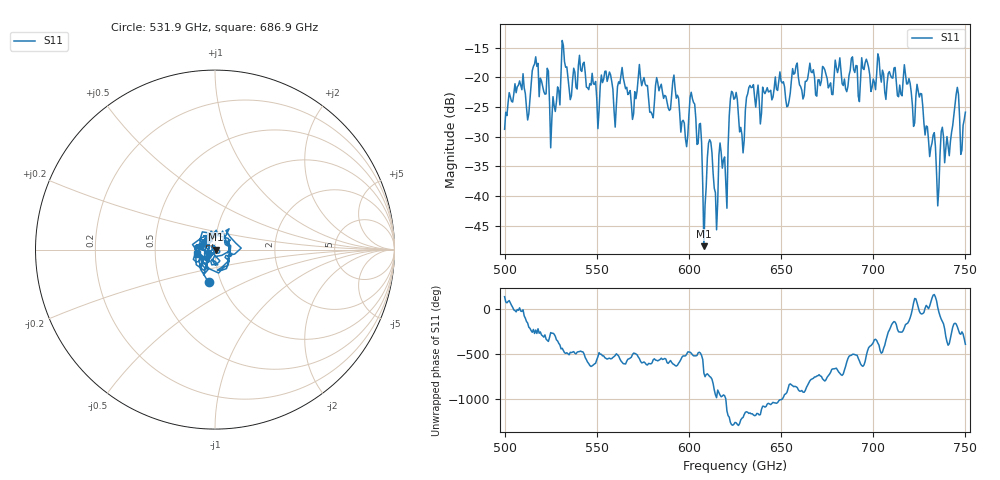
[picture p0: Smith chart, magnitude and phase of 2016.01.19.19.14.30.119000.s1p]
!Created with skrf (http://scikit-rf.org).
# GHz S RI R 50.0
!freq ReS11 ImS11
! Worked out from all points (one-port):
!   401 points, 500 GHz to 750 GHz, reference 50 ohm
!   lowest |S11| = -48.5 dB at 608.1 GHz (marker M1), VSWR 1.01, Z = 50.4 + j0.0281 ohm
!   |S11| at or under -10 dB: start of sweep to end of sweep
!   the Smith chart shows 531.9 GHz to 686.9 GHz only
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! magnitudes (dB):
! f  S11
! 500 GHz  -28.8
! 508.8 GHz  -21.3
! 513.1 GHz  -26.2
! 516.9 GHz  -16.5
! 526.2 GHz  -23.2
! 531.2 GHz  -13.8
! 550.6 GHz  -28.6
! 562.5 GHz  -21.1
! 593.8 GHz  -23.0
! 598.1 GHz  -30.4
! 601.9 GHz  -23.6
! 608.1 GHz  -48.5
! 611.2 GHz  -30.5
! 614.4 GHz  -39.5
! 617.5 GHz  -32.7
! 619.4 GHz  -33.4
! 623.1 GHz  -22.4
! 625 GHz  -23.5
! 628.8 GHz  -29.6
! 633.8 GHz  -21.7
! 656.2 GHz  -18.5
! 687.5 GHz  -18.8
! 718.8 GHz  -21.1
! 725 GHz  -23.3
! 735 GHz  -41.7
! 745 GHz  -22.8
! 748.1 GHz  -32.3
! 750 GHz  -25.9
